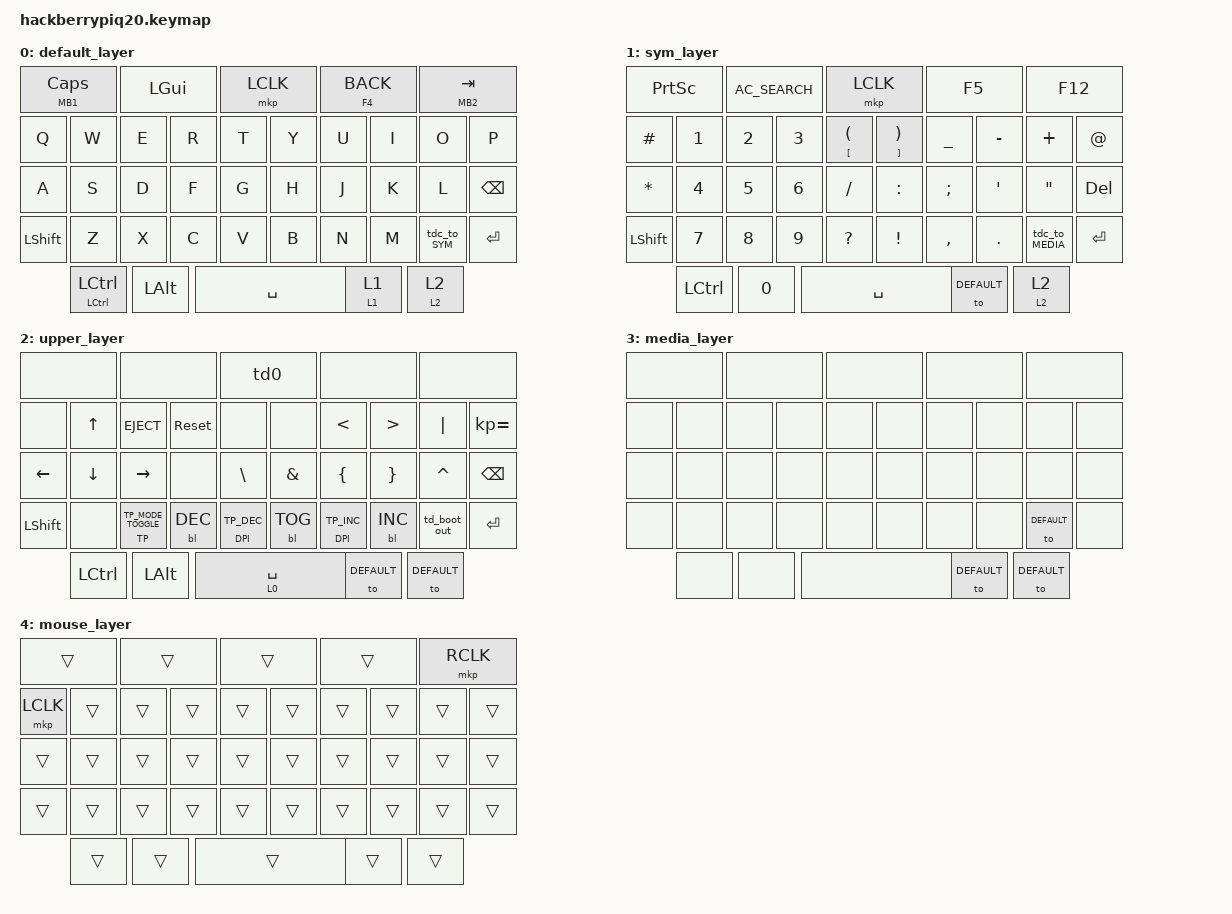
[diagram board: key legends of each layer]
/*
 * Copyright (c) 2023 ZitaoTech
 *
 * SPDX-License-Identifier: MIT
 */
/* Keep ZMK's native to-layer behavior compiled in, otherwise /omit-if-no-ref/ drops
 * the node and ZMK Studio cannot offer "To Layer".
 */
#define ZMK_BEHAVIORS_KEEP_TO

#include <behaviors.dtsi>
#include <behaviors/runtime_macro.dtsi>
#include <dt-bindings/zmk/keys.h>
#include <dt-bindings/zmk/bt.h>
#include <dt-bindings/zmk/outputs.h>
#include <dt-bindings/zmk/mouse.h>
#include <dt-bindings/zmk/backlight.h>
#include <dt-bindings/zmk/rgb.h>
#include <behaviors/trackpad_dpi.dtsi>
#include <behaviors/trackpad_mode.dtsi>

#define DEFAULT 0
#define SYM 1
#define UPPER 2
#define MEDIA 3

/* Must match the command codes in custom_driver/a320.h:
 * TP_NONE_CMD = 0, TP_INC_CMD = 1, TP_DEC_CMD = 2. They used to be off by one
 * here, which made &DPI TP_DEC increase the DPI and &DPI TP_INC do nothing. */
#define TP_NONE 0
#define TP_INC 1
#define TP_DEC 2

/* &TP command codes, mirroring custom_driver/behavior_trackpad_mode.c.  The key
 * does nothing until "enable the mode switch key" is turned on in ZitaoTech
 * Studio. */
#define TP_MODE_TOGGLE 0

#define SL_MO(layer) &sl_mo layer layer //tap -> sticky layer, hold -> momentary layer

&sl {
    release-after-ms = <3000>;
    };

/ {
    behaviors {
        td0: tap_dance_0 {
            compatible = "zmk,behavior-tap-dance";
            #binding-cells = <0>;
            tapping-term-ms = <400>;
            bindings = <&mkp LCLK>, <&none>;
        };
    };
    behaviors {
        hm: homerow_mods {
            compatible = "zmk,behavior-hold-tap";
            #binding-cells = <2>;
            tapping-term-ms = <500>;
            bindings = <&mo &kp>;
        };
    };

    behaviors {
    lt: Layer_Tap {
            compatible = "zmk,behavior-hold-tap";
            #binding-cells = <2>;
            flavor = "hold-preferred";
            tapping-term-ms = <400>;
            bindings = <&mo>, <&kp>;
        };
    };

    behaviors {
    sl_mo: behavior_sl_mo {
        compatible = "zmk,behavior-hold-tap";
        #binding-cells = <2>;
        flavor = "hold-preferred";      /* 单击优先 */
        tapping-term-ms = <450>;       /* 长按阈值 */
        bindings = <&mo &sl>;          /* hold=MO, tap=SL */
        };
    };

    behaviors {
        tdc_to_SYM: td_comma_to_layer {
            compatible = "zmk,behavior-tap-dance";
            #binding-cells = <0>;
            tapping-term-ms = <400>;
            bindings = <&mt DLLR SEMI>, <&to SYM>;
        };
    };

    behaviors {
        tdc_to_MEDIA: td_mute_to_layer {
            compatible = "zmk,behavior-tap-dance";
            #binding-cells = <0>;
            tapping-term-ms = <400>;
            bindings = <&kp C_MUTE>, <&to MEDIA>;
        };
    };

    behaviors {
        td_boot_out: td_boot_out {
            compatible = "zmk,behavior-tap-dance";
            #binding-cells = <0>;
            tapping-term-ms = <500>;           
            bindings = <&bootloader>, <&none>;
        };
    };

    behaviors {
    sk_kp: behavior_sk_kp {
        compatible = "zmk,behavior-hold-tap";
        #binding-cells = <2>;
        flavor = "hold-preferred";      
        tapping-term-ms = <600>;       
        bindings = <&kp &sk>;          /* hold=kp, tap=sticky key */
        };
    };

    behaviors {
         M_kp: behavior_mouse_keypress {
           compatible = "zmk,behavior-hold-tap";
           #binding-cells = <2>;
           flavor = "tap-preferred";     /* 单击优先 */
           tapping-term-ms = <500>;       /* 长按阈值 */
           bindings = <&mkp &kp>;        /* hold=mou key press, tap=key*/
        };
    };

    keymap {
        compatible = "zmk,keymap";

        default_layer {

            bindings = <
//         --------------------------------------------------------------------------------------------------------------------------         
// |         Call key      |      Blackberry Key        |    Trackpad    |             Back Key                |             Endcall Key          |
// |     Q      |     W    |     E    |     R    |      T      |       Y        |       U        |        I        |       O      |      P        |     
// |     A      |     S    |     D    |     F    |      G      |       H        |       J        |        K        |       L      |      ←        |  
// |     alt    |     Z    |     X    |     C    |      V      |       B        |       N        |        M        |       $      |    Enter      |   
//        |         aA     |         0           |           SPACE              |         SYM         |        aA          |       
//        -----------------------------------------------------------------------------------------------------------------

    &M_kp MB1 CLCK          &kp LGUI                            &mkp LCLK                          &mt F4 K_BACK                     &M_kp MB2 TAB
    &kp Q        &kp W      &kp E       &kp R     &kp T         &kp Y             &kp U            &kp I            &kp O            &kp P
    &kp A        &kp S      &kp D       &kp F     &kp G         &kp H             &kp J            &kp K            &kp L            &kp BSPC
    &kp LSHFT    &kp Z      &kp X       &kp C     &kp V         &kp B             &kp N            &kp M            &tdc_to_SYM      &kp ENTER
    &sk_kp LCTRL  LCTRL     &kp LALT                            &kp SPACE                          &sl_mo 1 1                        &sl_mo 2 2
            >;
        };

                        
        sym_layer {

            bindings = <        
    &kp PSCRN               &kp C_AC_SEARCH                     &mkp LCLK                          &kp F5                            &kp F12 
    &kp HASH     &kp N1     &kp N2      &kp N3    &mt LBKT LPAR &mt RBKT RPAR     &kp UNDER        &kp MINUS        &kp PLUS         &kp AT
    &kp STAR     &kp N4     &kp N5      &kp N6    &kp SLASH     &kp COLON         &kp SEMI         &kp APOS         &kp DQT          &kp DEL
    &kp LSHFT    &kp N7     &kp N8      &kp N9    &kp QMARK     &kp EXCL          &kp COMMA        &kp DOT          &tdc_to_MEDIA    &kp ENTER
    &kp LCTRL               &kp N0                              &kp SPACE                          &to DEFAULT                       &sl_mo 2 2
            >;
        };

        upper_layer {

            bindings = <
    &none                   &none                                    &td0                           &none                            &none
    &none        &kp UP     &kp C_EJECT &sys_reset &none            &none         &kp LT           &kp GT          &kp PIPE         &kp KP_EQUAL
    &kp LEFT     &kp DOWN   &kp RIGHT   &none      &kp BSLH          &kp AMPS      &kp LBRC         &kp RBRC        &kp CARET        &kp BSPC
    &kp LSHFT    &none      &TP TP_MODE_TOGGLE &bl BL_DEC &DPI TP_DEC  &bl BL_TOG    &DPI TP_INC      &bl BL_INC      &td_boot_out     &kp ENTER
    &kp LCTRL               &kp LALT                                 &hm 0 SPACE                    &to DEFAULT                      &to DEFAULT
                >;
        };

                media_layer {

            bindings = <
    &none                  &none                               &none                         &none                            &none
    &none        &none     &none       &none      &none        &none         &none           &none           &none            &none
    &none        &none     &none       &none      &none        &none         &none           &none           &none            &none
    &none        &none     &none       &none      &none        &none         &none           &none           &to DEFAULT      &none
    &none                  &none                               &none                         &to DEFAULT                      &to DEFAULT
            >;
        };

        /*
         * Automatic mouse layer (index 4).  Q20 ships with it switched on in
         * ZitaoTech Studio; &zip_temp_layer holds it while a finger is on the
         * trackpad.
         *
         * Everything is transparent, so the keys behave exactly like layer 0;
         * only the mouse buttons differ: Q is the left button and the last key
         * of the top row (the Endcall key, position 4) is the right button.
         * Pressing a key needs less force than pressing the trackpad, which
         * makes dragging smooth.
         */
        mouse_layer {

            bindings = <
    &trans                  &trans                               &trans                        &trans                             &mkp RCLK
    &mkp LCLK    &trans     &trans      &trans    &trans        &trans        &trans           &trans           &trans            &trans
    &trans       &trans     &trans      &trans    &trans        &trans        &trans           &trans           &trans            &trans
    &trans       &trans     &trans      &trans    &trans        &trans        &trans           &trans           &trans            &trans
    &trans                  &trans                               &trans                         &trans                            &trans
            >;
        };
    };
};
